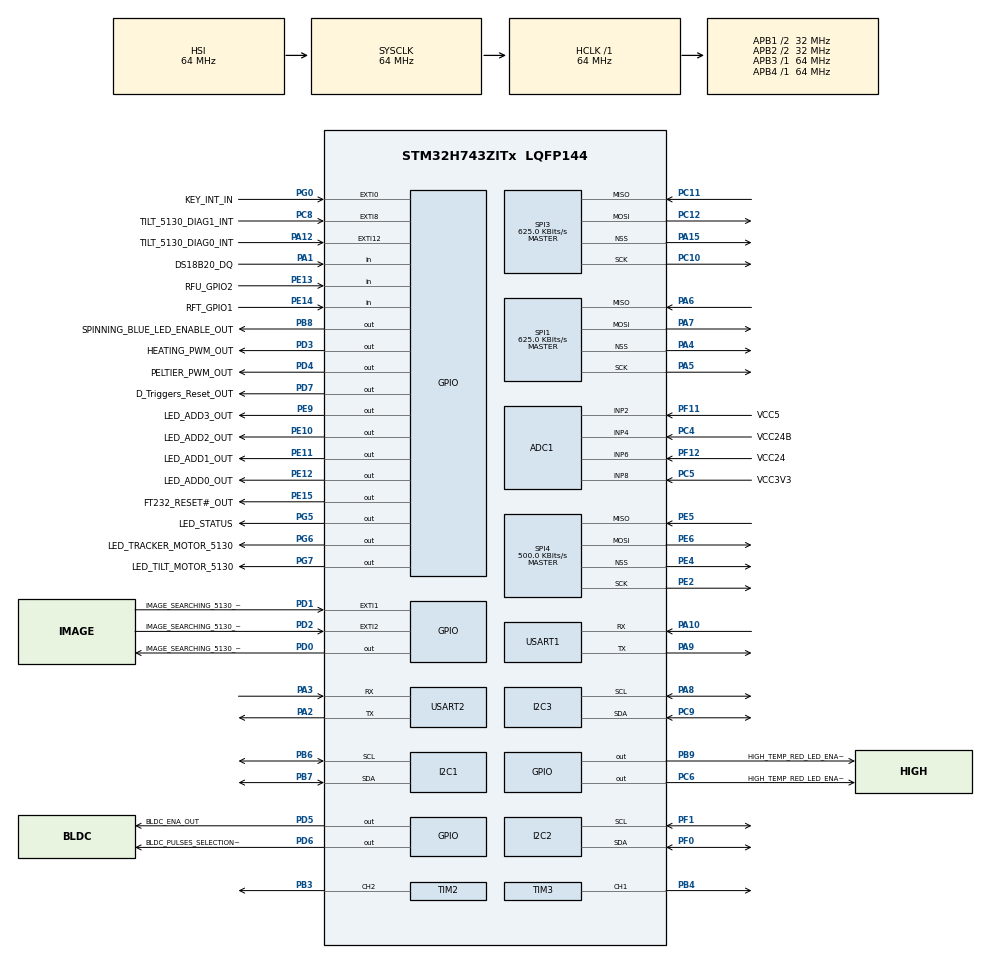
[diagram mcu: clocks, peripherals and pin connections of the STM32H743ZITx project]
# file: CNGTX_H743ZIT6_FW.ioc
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ADC1.Channel-0\#ChannelRegularConversion=ADC_CHANNEL_8
ADC1.NbrOfConversionFlag=1
ADC1.OffsetNumber-0\#ChannelRegularConversion=ADC_OFFSET_NONE
ADC1.OffsetSignedSaturation-0\#ChannelRegularConversion=DISABLE
ADC1.Rank-0\#ChannelRegularConversion=1
ADC1.SamplingTime-0\#ChannelRegularConversion=ADC_SAMPLETIME_1CYCLE_5
ADC1.master=1
FREERTOS.BinarySemaphores01=myBinarySem01,Static,myBinarySem01ControlBlock,Available;myBinarySem02,Static,myBinarySem02ControlBlock,Available
FREERTOS.CountingSemaphores01=myCountingSem01,2,Static,myCountingSem01ControlBlock,0;myCountingSem02,2,Static,myCountingSem02ControlBlock,0
FREERTOS.Tasks01=defaultTask,24,128,StartDefaultTask,Default,NULL,Dynamic,NULL,NULL;myTask02,49,128,StartTask02,Default,NULL,Dynamic,NULL,NULL;myTask03,50,128,StartTask03,Default,NULL,Dynamic,NULL,NULL;myTask04,25,128,StartTask04,Default,NULL,Dynamic,NULL,NULL;myTask05,26,128,StartTask05,Default,NULL,Dynamic,NULL,NULL;myTask06,8,128,StartTask06,Default,NULL,Dynamic,NULL,NULL
FREERTOS.Timers01=myTimer01,Callback01,osTimerPeriodic,Default,NULL,Dynamic,NULL
I2C1.OwnAddress=0x33
I2C1.Timing=0x00707CBB
I2C2.OwnAddress=0x60
I2C2.Timing=0x00707CBB
I2C3.Timing=0x00707CBB
Mcu.Family=STM32H7
Mcu.Name=STM32H743ZITx
Mcu.Package=LQFP144
NVIC.I2C1_ER_IRQn=true\:5\:0\:false\:false\:true\:true\:true\:true\:true
NVIC.I2C1_EV_IRQn=true\:5\:0\:false\:false\:true\:true\:true\:true\:true
NVIC.I2C2_ER_IRQn=true\:5\:0\:false\:false\:true\:true\:true\:true\:true
NVIC.I2C2_EV_IRQn=true\:5\:0\:false\:false\:true\:true\:true\:true\:true
NVIC.I2C3_ER_IRQn=true\:5\:0\:false\:false\:true\:true\:true\:true\:true
NVIC.I2C3_EV_IRQn=true\:5\:0\:false\:false\:true\:true\:true\:true\:true
NVIC.PriorityGroup=NVIC_PRIORITYGROUP_4
NVIC.SPI1_IRQn=true\:5\:0\:false\:false\:true\:true\:true\:true\:true
NVIC.SPI3_IRQn=true\:5\:0\:false\:false\:true\:true\:true\:true\:true
NVIC.SPI4_IRQn=true\:5\:0\:false\:false\:true\:true\:true\:true\:true
NVIC.TIM17_IRQn=true\:5\:0\:false\:false\:true\:true\:true\:true\:true
NVIC.TIM1_UP_IRQn=true\:15\:0\:false\:false\:true\:false\:false\:true\:true
NVIC.TIM2_IRQn=true\:5\:0\:false\:false\:true\:true\:true\:true\:true
NVIC.TIM3_IRQn=true\:5\:0\:false\:false\:true\:true\:true\:true\:true
NVIC.TIM4_IRQn=true\:5\:0\:false\:false\:true\:true\:true\:true\:true
NVIC.TIM7_IRQn=true\:5\:0\:false\:false\:true\:true\:true\:true\:true
NVIC.TimeBase=TIM1_UP_IRQn
NVIC.TimeBaseIP=TIM1
NVIC.USART1_IRQn=true\:5\:0\:false\:false\:true\:true\:true\:true\:true
NVIC.USART2_IRQn=true\:5\:0\:false\:false\:true\:true\:true\:true\:true
PA1.GPIO_Label=DS18B20_DQ
PA1.GPIO_PuPd=GPIO_PULLUP
PA1.Signal=GPIO_Input
PA10.Mode=Asynchronous
PA10.Signal=USART1_RX
PA12.GPIO_Label=TILT_5130_DIAG0_INT
PA12.GPIO_PuPd=GPIO_PULLUP
PA12.Signal=GPXTI12
PA15\ (JTDI).Mode=NSS_Signal_Hard_Output
PA15\ (JTDI).Signal=SPI3_NSS
PA2.Mode=Asynchronous
PA2.Signal=USART2_TX
PA3.Mode=Asynchronous
PA3.Signal=USART2_RX
PA4.Mode=NSS_Signal_Hard_Output
PA4.Signal=SPI1_NSS
PA5.Mode=Full_Duplex_Master
PA5.Signal=SPI1_SCK
PA6.Mode=Full_Duplex_Master
PA6.Signal=SPI1_MISO
PA7.Mode=Full_Duplex_Master
PA7.Signal=SPI1_MOSI
PA8.Mode=I2C
PA8.Signal=I2C3_SCL
PA9.Mode=Asynchronous
PA9.Signal=USART1_TX
PB12.Signal=SPI2_NSS
PB13.Signal=SPI2_SCK
PB14.Signal=SPI2_MISO
PB15.Signal=SPI2_MOSI
PB3\ (JTDO/TRACESWO).Signal=S_TIM2_CH2
PB4\ (NJTRST).Signal=S_TIM3_CH1
PB6.Mode=I2C
PB6.Signal=I2C1_SCL
PB7.Mode=I2C
PB7.Signal=I2C1_SDA
PB8.GPIO_Label=SPINNING_BLUE_LED_ENABLE_OUT
PB8.GPIO_PuPd=GPIO_PULLUP
PB8.Signal=GPIO_Output
PB9.GPIO_Label=HIGH_TEMP_RED_LED_ENABLE_OUT
PB9.GPIO_PuPd=GPIO_PULLUP
PB9.Signal=GPIO_Output
PC10.Mode=Full_Duplex_Master
PC10.Signal=SPI3_SCK
PC11.Mode=Full_Duplex_Master
PC11.Signal=SPI3_MISO
PC12.Mode=Full_Duplex_Master
PC12.Signal=SPI3_MOSI
PC14-OSC32_IN\ (OSC32_IN).Mode=LSE-External-Oscillator
PC14-OSC32_IN\ (OSC32_IN).Signal=RCC_OSC32_IN
PC15-OSC32_OUT\ (OSC32_OUT).Mode=LSE-External-Oscillator
PC15-OSC32_OUT\ (OSC32_OUT).Signal=RCC_OSC32_OUT
PC4.GPIO_Label=VCC24B
PC4.Signal=ADCx_INP4
PC5.GPIO_Label=VCC3V3
PC5.Signal=ADCx_INP8
PC6.GPIO_Label=HIGH_TEMP_RED_LED_ENABLE_OUT
PC6.GPIO_PuPd=GPIO_PULLUP
PC6.Signal=GPIO_Output
PC8.GPIO_Label=TILT_5130_DIAG1_INT
PC8.GPIO_PuPd=GPIO_PULLUP
PC8.Signal=GPXTI8
PC9.Mode=I2C
PC9.Signal=I2C3_SDA
PD0.GPIO_Label=IMAGE_SEARCHING_5130_Enable_Driver_Stage
PD0.GPIO_PuPd=GPIO_PULLDOWN
PD0.Signal=GPIO_Output
PD1.GPIO_Label=IMAGE_SEARCHING_5130_DIAG1_INT
PD1.GPIO_PuPd=GPIO_PULLUP
PD1.Signal=GPXTI1
PD2.GPIO_Label=IMAGE_SEARCHING_5130_DIAG0_INT
PD2.GPIO_PuPd=GPIO_PULLUP
PD2.Signal=GPXTI2
PD3.GPIO_Label=HEATING_PWM_OUT
PD3.GPIO_PuPd=GPIO_PULLUP
PD3.Signal=GPIO_Output
PD4.GPIO_Label=PELTIER_PWM_OUT
PD4.GPIO_PuPd=GPIO_PULLUP
PD4.Signal=GPIO_Output
PD5.GPIO_Label=BLDC_ENA_OUT
PD5.GPIO_PuPd=GPIO_PULLDOWN
PD5.Signal=GPIO_Output
PD6.GPIO_Label=BLDC_PULSES_SELECTION_OUT
PD6.GPIO_PuPd=GPIO_PULLUP
PD6.Signal=GPIO_Output
PD7.GPIO_Label=D_Triggers_Reset_OUT
PD7.GPIO_PuPd=GPIO_PULLUP
PD7.Signal=GPIO_Output
PE10.GPIO_Label=LED_ADD2_OUT
PE10.GPIO_PuPd=GPIO_PULLDOWN
PE10.Signal=GPIO_Output
PE11.GPIO_Label=LED_ADD1_OUT
PE11.GPIO_PuPd=GPIO_PULLDOWN
PE11.Signal=GPIO_Output
PE12.GPIO_Label=LED_ADD0_OUT
PE12.GPIO_PuPd=GPIO_PULLDOWN
PE12.Signal=GPIO_Output
PE13.GPIO_Label=RFU_GPIO2
PE13.GPIO_PuPd=GPIO_PULLUP
PE13.Signal=GPIO_Input
PE14.GPIO_Label=RFT_GPIO1
PE14.GPIO_PuPd=GPIO_PULLUP
PE14.Signal=GPIO_Input
PE15.GPIO_Label=FT232_RESET\#_OUT
PE15.GPIO_PuPd=GPIO_PULLUP
PE15.Signal=GPIO_Output
PE2.Mode=Full_Duplex_Master
PE2.Signal=SPI4_SCK
PE4.Mode=NSS_Signal_Hard_Output
PE4.Signal=SPI4_NSS
PE5.Mode=Full_Duplex_Master
PE5.Signal=SPI4_MISO
PE6.Mode=Full_Duplex_Master
PE6.Signal=SPI4_MOSI
PE9.GPIO_Label=LED_ADD3_OUT
PE9.GPIO_PuPd=GPIO_PULLDOWN
PE9.Signal=GPIO_Output
PF0.Mode=I2C
PF0.Signal=I2C2_SDA
PF1.Mode=I2C
PF1.Signal=I2C2_SCL
PF11.GPIO_Label=VCC5
PF11.Mode=IN2-Single-Ended
PF11.Signal=ADC1_INP2
PF12.GPIO_Label=VCC24
PF12.Mode=IN6-Single-Ended
PF12.Signal=ADC1_INP6
PG0.GPIO_Label=KEY_INT_IN
PG0.GPIO_PuPd=GPIO_PULLUP
PG0.Signal=GPXTI0
PG5.GPIO_Label=LED_STATUS
PG5.GPIO_PuPd=GPIO_PULLUP
PG5.Signal=GPIO_Output
PG6.GPIO_Label=LED_TRACKER_MOTOR_5130
PG6.GPIO_PuPd=GPIO_PULLUP
PG6.Signal=GPIO_Output
PG7.GPIO_Label=LED_TILT_MOTOR_5130
PG7.GPIO_PuPd=GPIO_PULLUP
PG7.Signal=GPIO_Output
PH0-OSC_IN\ (PH0).Mode=HSE-External-Oscillator
PH0-OSC_IN\ (PH0).Signal=RCC_OSC_IN
PH1-OSC_OUT\ (PH1).Mode=HSE-External-Oscillator
PH1-OSC_OUT\ (PH1).Signal=RCC_OSC_OUT
ProjectManager.HeapSize=0x200
ProjectManager.StackSize=0x400
ProjectManager.TargetToolchain=MDK-ARM V5.32
RCC.ADCFreq_Value=80000000
RCC.APB1Freq_Value=32000000
RCC.APB2Freq_Value=32000000
RCC.APB3Freq_Value=64000000
RCC.APB4Freq_Value=64000000
RCC.CortexFreq_Value=64000000
RCC.D2PPRE1=RCC_APB1_DIV2
RCC.D2PPRE2=RCC_APB2_DIV2
RCC.DIVM1=4
RCC.DIVM2=4
RCC.DIVN1=10
RCC.DIVN2=10
RCC.HCLKFreq_Value=64000000
RCC.PLL2FRACN=0
RCC.PLLFRACN=0
RCC.SYSCLKFreq_VALUE=64000000
RCC.USBFreq_Value=80000000
SH.ADCx_INP4.0=ADC1_INP4,IN4-Single-Ended
SH.ADCx_INP8.0=ADC1_INP8,IN8-Single-Ended
SH.S_TIM2_CH2.0=TIM2_CH2,PWM Generation2 CH2
SH.S_TIM3_CH1.0=TIM3_CH1,PWM Generation1 CH1
SPI1.BaudRatePrescaler=SPI_BAUDRATEPRESCALER_128
SPI1.CalculateBaudRate=625.0 KBits/s
SPI1.DataSize=SPI_DATASIZE_8BIT
SPI1.Direction=SPI_DIRECTION_2LINES
SPI1.Mode=SPI_MODE_MASTER
SPI1.VirtualNSS=VM_NSSHARD
SPI1.VirtualType=VM_MASTER
SPI3.BaudRatePrescaler=SPI_BAUDRATEPRESCALER_128
SPI3.CalculateBaudRate=625.0 KBits/s
SPI3.DataSize=SPI_DATASIZE_8BIT
SPI3.Direction=SPI_DIRECTION_2LINES
SPI3.Mode=SPI_MODE_MASTER
SPI3.VirtualNSS=VM_NSSHARD
SPI3.VirtualType=VM_MASTER
SPI4.BaudRatePrescaler=SPI_BAUDRATEPRESCALER_64
SPI4.CalculateBaudRate=500.0 KBits/s
SPI4.DataSize=SPI_DATASIZE_8BIT
SPI4.Direction=SPI_DIRECTION_2LINES
SPI4.Mode=SPI_MODE_MASTER
SPI4.VirtualNSS=VM_NSSHARD
SPI4.VirtualType=VM_MASTER
TIM17.AutoReloadPreload=TIM_AUTORELOAD_PRELOAD_ENABLE
TIM17.Period=6400
TIM17.Prescaler=1000
TIM2.Channel-PWM\ Generation2\ CH2=TIM_CHANNEL_2
TIM2.ClockDivision=TIM_CLOCKDIVISION_DIV4
TIM3.Channel-PWM\ Generation1\ CH1=TIM_CHANNEL_1
TIM3.ClockDivision=TIM_CLOCKDIVISION_DIV2
TIM4.AutoReloadPreload=TIM_AUTORELOAD_PRELOAD_ENABLE
TIM4.Period=6400
TIM4.Prescaler=100
TIM7.AutoReloadPreload=TIM_AUTORELOAD_PRELOAD_ENABLE
TIM7.Period=6400
TIM7.Prescaler=100
USART1.VirtualMode-Asynchronous=VM_ASYNC
USART2.VirtualMode-Asynchronous=VM_ASYNC
VP_FREERTOS_VS_CMSIS_V2.Mode=CMSIS_V2
VP_MEMORYMAP_VS_MEMORYMAP.Mode=CurAppReg
VP_SYS_VS_tim1.Mode=TIM1
VP_TIM17_VS_ClockSourceINT.Mode=Enable_Timer
VP_TIM2_VS_ClockSourceINT.Mode=Internal
VP_TIM3_VS_ClockSourceINT.Mode=Internal
VP_TIM4_VS_ClockSourceINT.Mode=Internal
VP_TIM7_VS_ClockSourceINT.Mode=Enable_Timer
board=custom

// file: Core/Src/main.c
/* USER CODE BEGIN Header */
/**
  ******************************************************************************
  * @file           : main.c
  * @brief          : Main program body
  ******************************************************************************
  * @attention
  *
  * Copyright (c) 2025 STMicroelectronics.
  * All rights reserved.
  *
  * This software is licensed under terms that can be found in the LICENSE file
  * in the root directory of this software component.
  * If no LICENSE file comes with this software, it is provided AS-IS.
  *
  ******************************************************************************
  */
/* USER CODE END Header */
#include "main.h"
#include "cmsis_os.h"
#include "cmsis_os.h"
#include "adc.h"
#include "i2c.h"
#include "spi.h"
#include "tim.h"
#include "usart.h"
#include "gpio.h"

/* USER CODE BEGIN Includes */
#include "hal_callbacks.h"  // UART protocol callbacks
/* USER CODE END Includes */

void SystemClock_Config(void);
void MX_FREERTOS_Init(void);

int main(void)
{

  /* MCU Configuration--------------------------------------------------------*/

  /* Reset of all peripherals, Initializes the Flash interface and the Systick. */
  HAL_Init();

  /* Configure the system clock */
  SystemClock_Config();

  /* Initialize all configured peripherals */
  MX_GPIO_Init();
  MX_ADC1_Init();
  MX_I2C1_Init();
  MX_I2C2_Init();
  MX_I2C3_Init();
  MX_SPI1_Init();
  MX_SPI3_Init();
  MX_SPI4_Init();
  MX_TIM2_Init();
  MX_TIM3_Init();
  MX_TIM4_Init();
  MX_TIM7_Init();
  MX_TIM17_Init();
  MX_USART1_UART_Init();
  MX_USART2_UART_Init();

  /* Init scheduler */
  osKernelInitialize();  /* Call init function for freertos objects (in cmsis_os2.c) */
  MX_FREERTOS_Init();

  /* Start scheduler */
  osKernelStart();

  /* We should never get here as control is now taken by the scheduler */

  /* Infinite loop */
  while (1)
  {

  }
}

void SystemClock_Config(void)
{
  RCC_OscInitTypeDef RCC_OscInitStruct = {0};
  RCC_ClkInitTypeDef RCC_ClkInitStruct = {0};

  /** Supply configuration update enable
  */
  HAL_PWREx_ConfigSupply(PWR_LDO_SUPPLY);

  /** Configure the main internal regulator output voltage
  */
  __HAL_PWR_VOLTAGESCALING_CONFIG(PWR_REGULATOR_VOLTAGE_SCALE3);

  while(!__HAL_PWR_GET_FLAG(PWR_FLAG_VOSRDY)) {}

  /** Initializes the RCC Oscillators according to the specified parameters
  * in the RCC_OscInitTypeDef structure.
  */
  RCC_OscInitStruct.OscillatorType = RCC_OSCILLATORTYPE_HSI;
  RCC_OscInitStruct.HSIState = RCC_HSI_DIV1;
  RCC_OscInitStruct.HSICalibrationValue = RCC_HSICALIBRATION_DEFAULT;
  RCC_OscInitStruct.PLL.PLLState = RCC_PLL_ON;
  RCC_OscInitStruct.PLL.PLLSource = RCC_PLLSOURCE_HSI;
  RCC_OscInitStruct.PLL.PLLM = 4;
  RCC_OscInitStruct.PLL.PLLN = 10;
  RCC_OscInitStruct.PLL.PLLP = 2;
  RCC_OscInitStruct.PLL.PLLQ = 2;
  RCC_OscInitStruct.PLL.PLLR = 2;
  RCC_OscInitStruct.PLL.PLLRGE = RCC_PLL1VCIRANGE_3;
  RCC_OscInitStruct.PLL.PLLVCOSEL = RCC_PLL1VCOMEDIUM;
  RCC_OscInitStruct.PLL.PLLFRACN = 0;
  if (HAL_RCC_OscConfig(&RCC_OscInitStruct) != HAL_OK)
  {
    Error_Handler();
  }

  /** Initializes the CPU, AHB and APB buses clocks
  */
  RCC_ClkInitStruct.ClockType = RCC_CLOCKTYPE_HCLK|RCC_CLOCKTYPE_SYSCLK
                              |RCC_CLOCKTYPE_PCLK1|RCC_CLOCKTYPE_PCLK2
                              |RCC_CLOCKTYPE_D3PCLK1|RCC_CLOCKTYPE_D1PCLK1;
  RCC_ClkInitStruct.SYSCLKSource = RCC_SYSCLKSOURCE_HSI;
  RCC_ClkInitStruct.SYSCLKDivider = RCC_SYSCLK_DIV1;
  RCC_ClkInitStruct.AHBCLKDivider = RCC_HCLK_DIV1;
  RCC_ClkInitStruct.APB3CLKDivider = RCC_APB3_DIV1;
  RCC_ClkInitStruct.APB1CLKDivider = RCC_APB1_DIV2;
  RCC_ClkInitStruct.APB2CLKDivider = RCC_APB2_DIV2;
  RCC_ClkInitStruct.APB4CLKDivider = RCC_APB4_DIV1;

  if (HAL_RCC_ClockConfig(&RCC_ClkInitStruct, FLASH_LATENCY_1) != HAL_OK)
  {
    Error_Handler();
  }
}

void Error_Handler(void)
{
  __disable_irq();
  while (1)
  {
  }
}

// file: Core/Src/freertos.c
/* USER CODE BEGIN Header */
/**
  ******************************************************************************
  * File Name          : freertos.c
  * Description        : Code for freertos applications
  ******************************************************************************
  * @attention
  *
  * Copyright (c) 2025 STMicroelectronics.
  * All rights reserved.
  *
  * This software is licensed under terms that can be found in the LICENSE file
  * in the root directory of this software component.
  * If no LICENSE file comes with this software, it is provided AS-IS.
  *
  ******************************************************************************
  */
/* USER CODE END Header */

#include "FreeRTOS.h"
#include "task.h"
#include "main.h"
#include "cmsis_os.h"
#include "app_printf_config.h"

/* Conditional printf for FreeRTOS tasks */
#if (ENABLE_APP_PRINTF && ENABLE_APP_PRINTF_TASK)
    #define TASK_PRINTF(...)    printf(__VA_ARGS__)
#else
    #define TASK_PRINTF(...)    ((void)0)
#endif

/* USER CODE BEGIN Includes */
#include <stdio.h>
#include "app.h"
#include "driver.h"
#include "utilities.h"
#include "usart.h"
/* USER CODE END Includes */

typedef StaticSemaphore_t osStaticSemaphoreDef_t;

/* USER CODE BEGIN PD */

// Task03 Configuration - Button Processing Loop Delay
// Change this value to adjust button responsiveness:
//   50ms  = 20Hz (recommended - good responsiveness)
//   100ms = 10Hz (slower but less CPU usage)
//   20ms  = 50Hz (very responsive but more CPU usage)

/* USER CODE END PD */

/* USER CODE BEGIN Variables */

// UART dual buffer variables (defined in uart_protocol.c)
extern uint8_t rxBufferA[];
extern uint8_t rxBufferB[];
extern volatile uint8_t bufferA_ready;
extern volatile uint8_t bufferB_ready;
extern volatile uint16_t bufferA_length;
extern volatile uint16_t bufferB_length;

/* USER CODE END Variables */
/* Definitions for defaultTask */
osThreadId_t defaultTaskHandle;
const osThreadAttr_t defaultTask_attributes = {
  .name = "defaultTask",
  .stack_size = 512,
  .priority = (osPriority_t) osPriorityNormal,
};
/* Definitions for myTask02 */
osThreadId_t myTask02Handle;
const osThreadAttr_t myTask02_attributes = {
  .name = "myTask02",
  .stack_size = 2048,
  .priority = (osPriority_t) osPriorityRealtime1,
};
/* Definitions for myTask03 */
osThreadId_t myTask03Handle;
const osThreadAttr_t myTask03_attributes = {
  .name = "myTask03",
  .stack_size = 512 * 8,
  .priority = (osPriority_t) osPriorityRealtime2,
};
/* Definitions for myTask04 */
osThreadId_t myTask04Handle;
const osThreadAttr_t myTask04_attributes = {
  .name = "myTask04",
  .stack_size = 512 * 8,
  .priority = (osPriority_t) osPriorityNormal1,
};
/* Definitions for myTask05 */
osThreadId_t myTask05Handle;
const osThreadAttr_t myTask05_attributes = {
  .name = "myTask05",
  .stack_size = 128 * 4,
  .priority = (osPriority_t) osPriorityNormal2,
};
/* Definitions for myTask06 */
osThreadId_t myTask06Handle;
const osThreadAttr_t myTask06_attributes = {
  .name = "myTask06",
  .stack_size = 128 * 4,
  .priority = (osPriority_t) osPriorityLow,
};
/* Definitions for myTimer01 */
osTimerId_t myTimer01Handle;
const osTimerAttr_t myTimer01_attributes = {
  .name = "myTimer01"
};
/* Definitions for myBinarySem01 */
osSemaphoreId_t myBinarySem01Handle;
osStaticSemaphoreDef_t myBinarySem01ControlBlock;
const osSemaphoreAttr_t myBinarySem01_attributes = {
  .name = "myBinarySem01",
  .cb_mem = &myBinarySem01ControlBlock,
  .cb_size = sizeof(myBinarySem01ControlBlock),
};
/* Definitions for myBinarySem02 */
osSemaphoreId_t myBinarySem02Handle;
osStaticSemaphoreDef_t myBinarySem02ControlBlock;
const osSemaphoreAttr_t myBinarySem02_attributes = {
  .name = "myBinarySem02",
  .cb_mem = &myBinarySem02ControlBlock,
  .cb_size = sizeof(myBinarySem02ControlBlock),
};
/* Definitions for myCountingSem01 */
osSemaphoreId_t myCountingSem01Handle;
osStaticSemaphoreDef_t myCountingSem01ControlBlock;
const osSemaphoreAttr_t myCountingSem01_attributes = {
  .name = "myCountingSem01",
  .cb_mem = &myCountingSem01ControlBlock,
  .cb_size = sizeof(myCountingSem01ControlBlock),
};
/* Definitions for myCountingSem02 */
osSemaphoreId_t myCountingSem02Handle;
osStaticSemaphoreDef_t myCountingSem02ControlBlock;
const osSemaphoreAttr_t myCountingSem02_attributes = {
  .name = "myCountingSem02",
  .cb_mem = &myCountingSem02ControlBlock,
  .cb_size = sizeof(myCountingSem02ControlBlock),
};

void StartDefaultTask(void *argument);
void StartTask02(void *argument);
void StartTask03(void *argument);
void StartTask04(void *argument);
void StartTask05(void *argument);
void StartTask06(void *argument);
void Callback01(void *argument);

void MX_FREERTOS_Init(void); /* (MISRA C 2004 rule 8.1) */

void MX_FREERTOS_Init(void) {

  /* Create the semaphores(s) */
  /* creation of myBinarySem01 */
  myBinarySem01Handle = osSemaphoreNew(1, 1, &myBinarySem01_attributes);

  /* creation of myBinarySem02 */
  myBinarySem02Handle = osSemaphoreNew(1, 1, &myBinarySem02_attributes);

  /* creation of myCountingSem01 */
  myCountingSem01Handle = osSemaphoreNew(2, 0, &myCountingSem01_attributes);

  /* creation of myCountingSem02 */
  myCountingSem02Handle = osSemaphoreNew(2, 0, &myCountingSem02_attributes);

  /* Create the timer(s) */
  /* creation of myTimer01 */
  myTimer01Handle = osTimerNew(Callback01, osTimerPeriodic, NULL, &myTimer01_attributes);

  /* USER CODE BEGIN RTOS_QUEUES */
	/* add queues, ... */

	// UART frame reception now uses simple boolean flag (g_uart1_frame_complete)
	// No RTOS event flags needed - simpler and more efficient

  /* USER CODE END RTOS_QUEUES */

  /* Create the thread(s) */
  /* creation of defaultTask */
  defaultTaskHandle = osThreadNew(StartDefaultTask, NULL, &defaultTask_attributes);

  /* creation of myTask02 */
  myTask02Handle = osThreadNew(StartTask02, NULL, &myTask02_attributes);

  /* creation of myTask03 */
  myTask03Handle = osThreadNew(StartTask03, NULL, &myTask03_attributes);

  /* creation of myTask04 */
  myTask04Handle = osThreadNew(StartTask04, NULL, &myTask04_attributes);

  /* creation of myTask05 */
  myTask05Handle = osThreadNew(StartTask05, NULL, &myTask05_attributes);

  /* creation of myTask06 */
  myTask06Handle = osThreadNew(StartTask06, NULL, &myTask06_attributes);

}

void StartDefaultTask(void *argument)
{
  /* USER CODE BEGIN StartDefaultTask */
	/* Infinite loop */
	for(;;)
	{
		osDelay(1000);
		LED_STATUS_Toggle();
	}
  /* USER CODE END StartDefaultTask */
}

/* USER CODE BEGIN Header_StartTask02 */
void StartTask02(void *argument)
{
  /* USER CODE BEGIN StartTask02 */

	// Initialize UART protocol and start byte-by-byte reception
	UartProto_StartReception(&huart1);
	TASK_PRINTF("[Task02] UART dual buffer protocol initialized on USART1\r\n");

	__nop();

	/* Infinite loop - UART frame processing (dual flag polling, zero-copy) */
	for(;;)
	{
		// Check BufferA ready flag (set by TIM4 ISR)
		if (bufferA_ready)
		{
			// Process frame directly from BufferA (zero-copy)
			UartProto_ProcessFrame(rxBufferA, bufferA_length);

			// Clear flag after processing
			bufferA_ready = 0;
		}

		// Check BufferB ready flag (set by TIM4 ISR)
		if (bufferB_ready)
		{
			// Process frame directly from BufferB (zero-copy)
			UartProto_ProcessFrame(rxBufferB, bufferB_length);

			// Clear flag after processing
			bufferB_ready = 0;
		}

		// Small delay to prevent 100% CPU usage
		// Latency: Max 5ms between frame arrival and processing
		osDelay(5);
		__nop();
	}
}
  /* USER CODE END StartTask02 */
/* USER CODE END Header_StartTask03 */
void StartTask03(void *argument)
{
  /* USER CODE BEGIN StartTask03 */
	// Initialize application control system (includes display and button init)
	AppControl_Init();

	// Show startup animation on both groups simultaneously (6000ms total)
	AppControl_ShowStartupAnimation();

	// Display default values after animation
	AppControl_UpdateDisplay();

	TASK_PRINTF("[Task02] Button/Display control initialized\r\n");
	TASK_PRINTF("[Task02] Temperature setpoint: %.1f°C\r\n", AppState_GetTempSetpoint());
	TASK_PRINTF("[Task02] BLDC setpoint: %u RPM\r\n", AppState_GetBlDCSetpoint());

	uint32_t last_time = osKernelGetTickCount();

	__nop();
	/* Infinite loop */
	for(;;)
	{
		// Get current time in milliseconds
		uint32_t current_time = osKernelGetTickCount();

		// Process button state machine
		Button_Process(current_time);

		// Get button events (polling mode)
		ButtonEvent_t event;
		while (Button_GetEvent(&event))
		{
			// Handle button events through application button handler
			AppButton_HandleEvent(&event);
		}

		// Process continuous adjustments (held buttons)
		AppControl_ProcessContinuousAdjustment(current_time);

		// Update display flash state (timeout and toggle)
		AppControl_UpdateDisplayFlash(current_time);

		// Update display content
		AppControl_UpdateDisplay();

		// Loop delay for button responsiveness (configurable via TASK03_LOOP_DELAY_MS)
		osDelay(30);
		__nop();
	}
  /* USER CODE END StartTask02 */
}

/* USER CODE BEGIN Header_StartTask04 */
/**J
* @brief Function implementing the myTask04 thread.
* @param argument: Not used
* @retval None
*/
/* USER CODE END Header_StartTask04 */
void StartTask04(void *argument)
{
  /* USER CODE BEGIN StartTask04 */
//	eeprom_status = M24C64_Init();
//	M24C64_TestI2CLines();
//	M24C64_WriteByte_Polling(32, 0x55);
//	M24C64_ReadByte_Polling(32, eeprom_read_buf);
//	I2C2_ISM330IS_TestDemo();
	__nop();
	mlx90614_wrapper_init();
	mlx90640_wrapper_init();
	__nop();
	/* Infinite loop */
	for(;;)
	{
		// Loop delay for button responsiveness (configurable via TASK03_LOOP_DELAY_MS)
		mlx90614_wrapper_sample_polling();
		osDelay(100);
		mlx90640_wrapper_sample_polling();
		osDelay(500);
		AppState_SetTempActual(read_mlx90640_obj_avg_temp());
		__nop();
	}
  /* USER CODE END StartTask04 */
}

void StartTask05(void *argument)
{
	/* USER CODE BEGIN StartTask05 */
	/* Infinite loop */
	for(;;)
	{
		osDelay(1000);
		__nop();
	}
	/* USER CODE END StartTask05 */
}

void StartTask06(void *argument)
{
	for(;;)
	{
        osDelay(1);
	}
}

/* Callback01 function */
void Callback01(void *argument)
{
}
